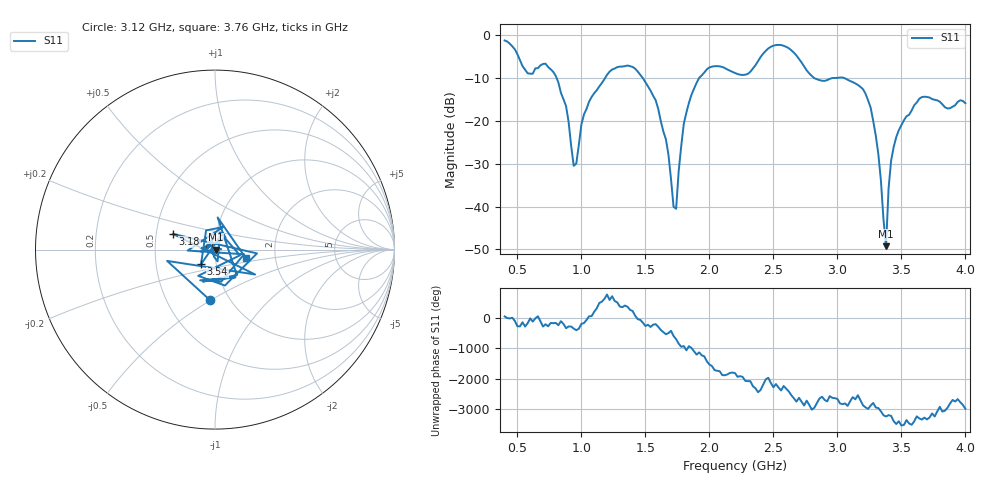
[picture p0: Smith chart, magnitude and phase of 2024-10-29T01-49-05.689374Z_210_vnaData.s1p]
!Created with skrf (http://scikit-rf.org).
# Hz S RI R 50.0
!freq ReS11 ImS11
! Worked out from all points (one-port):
!   181 points, 400 MHz to 4 GHz, reference 50 ohm
!   lowest |S11| = -49.2 dB at 3.38 GHz (marker M1), VSWR 1.01, Z = 50.3 - j0.0882 ohm
!   |S11| at or under -10 dB: 806.5 MHz to 1.185 GHz (378.2 MHz wide, 38 % of centre); 1.48 GHz to 1.919 GHz (439.1 MHz wide, 25.8 % of centre); 3.054 GHz to end of sweep (the widest 3 of 4)
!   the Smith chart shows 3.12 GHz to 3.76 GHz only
!   S11 on the Smith chart (normalised r, x): 3.12 GHz: 0.81, -0.50; 3.18 GHz: 0.61, +0.11; 3.54 GHz: 0.84, -0.14; 3.76 GHz: 1.40, -0.13
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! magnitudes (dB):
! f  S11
! 400 MHz  -1.2
! 580 MHz  -8.9
! 720 MHz  -6.6
! 860 MHz  -14.9
! 940 MHz  -30.5
! 1.06 GHz  -15.5
! 1.3 GHz  -7.3
! 1.58 GHz  -15.1
! 1.66 GHz  -24.3
! 1.72 GHz  -40.0
! 1.74 GHz  -40.5
! 1.76 GHz  -31.7
! 1.8 GHz  -20.6
! 1.92 GHz  -10.0
! 2.2 GHz  -8.8
! 2.66 GHz  -4.1
! 2.82 GHz  -10.0
! 3.1 GHz  -10.7
! 3.12 GHz  -10.9
! 3.18 GHz  -12.1
! 3.3 GHz  -23.4
! 3.38 GHz  -49.2
! 3.4 GHz  -35.7
! 3.42 GHz  -29.2
! 3.54 GHz  -18.9
! 3.56 GHz  -18.6
! 3.76 GHz  -15.0
! 4 GHz  -15.9
